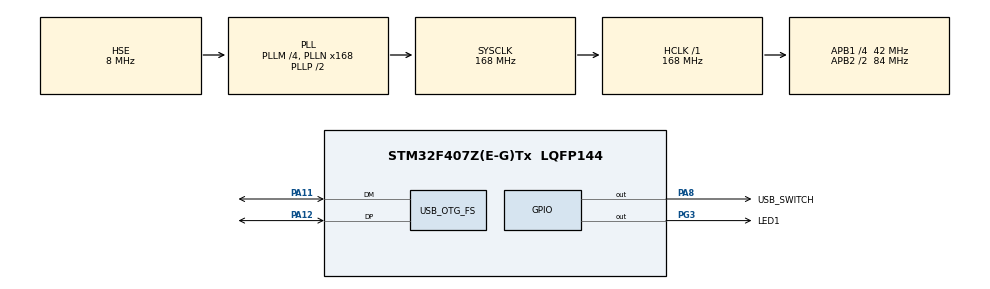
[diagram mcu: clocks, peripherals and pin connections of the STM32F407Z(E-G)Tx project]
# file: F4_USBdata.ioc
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Mcu.Family=STM32F4
Mcu.Name=STM32F407Z(E-G)Tx
Mcu.Package=LQFP144
NVIC.OTG_FS_IRQn=true\:0\:0\:false\:false\:true\:false\:true
NVIC.PriorityGroup=NVIC_PRIORITYGROUP_4
PA11.Mode=Device_Only
PA11.Signal=USB_OTG_FS_DM
PA12.Mode=Device_Only
PA12.Signal=USB_OTG_FS_DP
PA13.Mode=Serial_Wire
PA13.Signal=SYS_JTMS-SWDIO
PA14.Mode=Serial_Wire
PA14.Signal=SYS_JTCK-SWCLK
PA8.GPIO_Label=USB_SWITCH
PA8.Signal=GPIO_Output
PC14-OSC32_IN.Mode=LSE-External-Oscillator
PC14-OSC32_IN.Signal=RCC_OSC32_IN
PC15-OSC32_OUT.Mode=LSE-External-Oscillator
PC15-OSC32_OUT.Signal=RCC_OSC32_OUT
PG3.GPIO_Label=LED1
PG3.Signal=GPIO_Output
PH0-OSC_IN.Mode=HSE-External-Oscillator
PH0-OSC_IN.Signal=RCC_OSC_IN
PH1-OSC_OUT.Mode=HSE-External-Oscillator
PH1-OSC_OUT.Signal=RCC_OSC_OUT
ProjectManager.HeapSize=0x200
ProjectManager.StackSize=0x400
ProjectManager.TargetToolchain=STM32CubeIDE
RCC.48MHZClocksFreq_Value=48000000
RCC.AHBFreq_Value=168000000
RCC.APB1CLKDivider=RCC_HCLK_DIV4
RCC.APB1Freq_Value=42000000
RCC.APB1TimFreq_Value=84000000
RCC.APB2CLKDivider=RCC_HCLK_DIV2
RCC.APB2Freq_Value=84000000
RCC.APB2TimFreq_Value=168000000
RCC.CortexFreq_Value=168000000
RCC.HCLKFreq_Value=168000000
RCC.HSE_VALUE=8000000
RCC.HSI_VALUE=16000000
RCC.PLLM=4
RCC.PLLN=168
RCC.PLLQ=7
RCC.SYSCLKFreq_VALUE=168000000
RCC.SYSCLKSource=RCC_SYSCLKSOURCE_PLLCLK
RCC.VCOOutputFreq_Value=336000000
USB_DEVICE.CLASS_NAME_FS=CUSTOM_HID
USB_DEVICE.CUSTOM_HID_FS_BINTERVAL=0x1
USB_DEVICE.PID_CUSTOMHID_FS=22355
USB_DEVICE.USBD_CUSTOMHID_OUTREPORT_BUF_SIZE-CUSTOM_HID_FS=64
USB_DEVICE.USBD_CUSTOM_HID_REPORT_DESC_SIZE-CUSTOM_HID_FS=33
USB_DEVICE.VID-CUSTOM_HID_FS=1154
USB_DEVICE.VirtualMode-CUSTOM_HID_FS=CustomHid
USB_DEVICE.VirtualModeFS=Custom_Hid_FS
USB_OTG_FS.VirtualMode=Device_Only
VP_USB_DEVICE_VS_USB_DEVICE_CUSTOM_HID_FS.Mode=CUSTOM_HID_FS
board=custom

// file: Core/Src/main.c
/* USER CODE BEGIN Header */
/**
  ******************************************************************************
  * @file           : main.c
  * @brief          : Main program body
  ******************************************************************************
  * @attention
  *
  * <h2><center>&copy; Copyright (c) 2020 STMicroelectronics.
  * All rights reserved.</center></h2>
  *
  * This software component is licensed by ST under BSD 3-Clause license,
  * the "License"; You may not use this file except in compliance with the
  * License. You may obtain a copy of the License at:
  *                        opensource.org/licenses/BSD-3-Clause
  *
  ******************************************************************************
  */
/* USER CODE END Header */

#include "main.h"
#include "usb_device.h"
#include "gpio.h"

/* USER CODE BEGIN Includes */
#include "usbd_custom_hid_if.h"
/* USER CODE END Includes */

void SystemClock_Config(void);
/* USER CODE BEGIN PFP */
void USB_SentStr(uint8_t *str);
/* USER CODE END PFP */

int main(void)
{

  /* MCU Configuration--------------------------------------------------------*/

  /* Reset of all peripherals, Initializes the Flash interface and the Systick. */
  HAL_Init();

  /* Configure the system clock */
  SystemClock_Config();

  /* Initialize all configured peripherals */
  MX_GPIO_Init();
  MX_USB_DEVICE_Init();
  /* USER CODE BEGIN 2 */

  HAL_GPIO_WritePin(USB_SWITCH_GPIO_Port, USB_SWITCH_Pin, GPIO_PIN_RESET);
  //char string[30] = "abcdefghijklmnopqrstuvwxyz";
  /* USER CODE END 2 */

  /* Infinite loop */
  /* USER CODE BEGIN WHILE */
  while (1)
  {
	 // USB_SentStr("abcdefghijklmn\n");

	  if(USB_GetDataFlag == 1) {
		  USB_GetDataFlag = 0;
		// uint8_t a =  USB_DataBuffer[0];
		 USB_SentStr(USB_DataBuffer);
		 USB_GetDataFlag = 0;
		 //UNUSED(a);
	  }

	//  USBD_CUSTOM_HID_SendReport(&hUsbDeviceFS, string, 6);
	  //USBD_CUSTOM_HID_SendReport(&hUsbDeviceFS, &string[6], 6);
	  //USBD_CUSTOM_HID_SendReport(&hUsbDeviceFS, &string[12], 6);
	 // USBD_CUSTOM_HID_SendReport(&hUsbDeviceFS, &string[12], 6);
	  //USBD_CUSTOM_HID_SendReport_FS((uint8_t *)string, strlen(string));
	 // HAL_GPIO_TogglePin(LED1_GPIO_Port, LED1_Pin);
    /* USER CODE END WHILE */

  }
}

void SystemClock_Config(void)
{
  RCC_OscInitTypeDef RCC_OscInitStruct = {0};
  RCC_ClkInitTypeDef RCC_ClkInitStruct = {0};

  /** Configure the main internal regulator output voltage
  */
  __HAL_RCC_PWR_CLK_ENABLE();
  __HAL_PWR_VOLTAGESCALING_CONFIG(PWR_REGULATOR_VOLTAGE_SCALE1);
  /** Initializes the CPU, AHB and APB busses clocks
  */
  RCC_OscInitStruct.OscillatorType = RCC_OSCILLATORTYPE_HSE;
  RCC_OscInitStruct.HSEState = RCC_HSE_ON;
  RCC_OscInitStruct.PLL.PLLState = RCC_PLL_ON;
  RCC_OscInitStruct.PLL.PLLSource = RCC_PLLSOURCE_HSE;
  RCC_OscInitStruct.PLL.PLLM = 4;
  RCC_OscInitStruct.PLL.PLLN = 168;
  RCC_OscInitStruct.PLL.PLLP = RCC_PLLP_DIV2;
  RCC_OscInitStruct.PLL.PLLQ = 7;
  if (HAL_RCC_OscConfig(&RCC_OscInitStruct) != HAL_OK)
  {
    Error_Handler();
  }
  /** Initializes the CPU, AHB and APB busses clocks
  */
  RCC_ClkInitStruct.ClockType = RCC_CLOCKTYPE_HCLK|RCC_CLOCKTYPE_SYSCLK
                              |RCC_CLOCKTYPE_PCLK1|RCC_CLOCKTYPE_PCLK2;
  RCC_ClkInitStruct.SYSCLKSource = RCC_SYSCLKSOURCE_PLLCLK;
  RCC_ClkInitStruct.AHBCLKDivider = RCC_SYSCLK_DIV1;
  RCC_ClkInitStruct.APB1CLKDivider = RCC_HCLK_DIV4;
  RCC_ClkInitStruct.APB2CLKDivider = RCC_HCLK_DIV2;

  if (HAL_RCC_ClockConfig(&RCC_ClkInitStruct, FLASH_LATENCY_5) != HAL_OK)
  {
    Error_Handler();
  }
}

/* USER CODE BEGIN 4 */
void USB_SentStr(uint8_t *str) {
	int strSize = strlen(str); //get length
	if(strSize > 64) return; //if too long
	uint8_t temp[66] = {0}; //buffer string
	for(int i = 0; i < strSize; i++) {
		temp[i] = str[i];  //move to buffer
	}
	for(int j = 0; j < 11; j++) {
		while(((USBD_CUSTOM_HID_HandleTypeDef*)(hUsbDeviceFS.pClassData))->state == CUSTOM_HID_BUSY); //if dma trans busy
		USBD_CUSTOM_HID_SendReport(&hUsbDeviceFS, &temp[j * 6], 6); // sent data
	}
}
/* USER CODE END 4 */

void Error_Handler(void)
{
}

/************************ (C) COPYRIGHT STMicroelectronics *****END OF FILE****/
